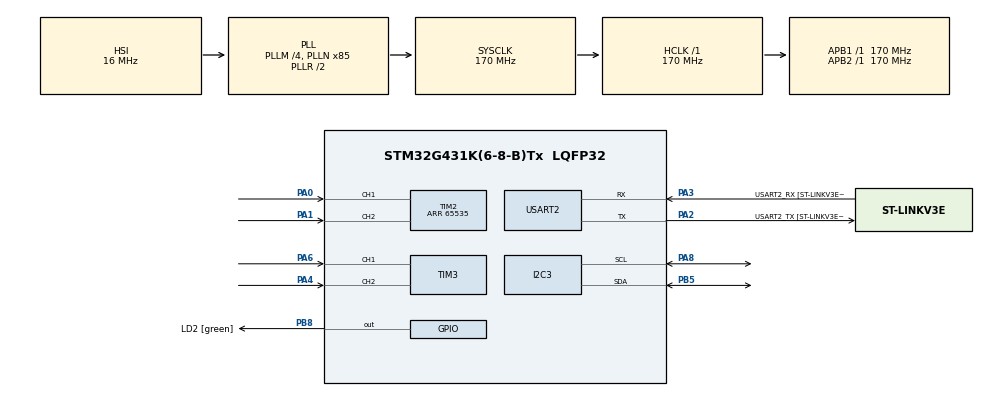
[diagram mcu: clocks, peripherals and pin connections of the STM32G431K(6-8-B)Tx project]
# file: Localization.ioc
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I2C3.Timing=0x30A0A7FB
Mcu.Family=STM32G4
Mcu.Name=STM32G431K(6-8-B)Tx
Mcu.Package=LQFP32
NVIC.PriorityGroup=NVIC_PRIORITYGROUP_4
NVIC.TIM6_DAC_IRQn=true\:0\:0\:false\:false\:true\:true\:true\:true
PA0.Signal=S_TIM2_CH1
PA1.Signal=S_TIM2_CH2
PA13.GPIO_Label=T_SWDIO
PA13.Mode=Serial_Wire
PA13.Signal=SYS_JTMS-SWDIO
PA14.GPIO_Label=T_SWCLK
PA14.Mode=Serial_Wire
PA14.Signal=SYS_JTCK-SWCLK
PA2.GPIO_Label=USART2_TX [ST-LINKV3E_VCP_RX]
PA2.Mode=Asynchronous
PA2.Signal=USART2_TX
PA3.GPIO_Label=USART2_RX [ST-LINKV3E_VCP_TX]
PA3.Mode=Asynchronous
PA3.Signal=USART2_RX
PA4.Signal=S_TIM3_CH2
PA6.Signal=S_TIM3_CH1
PA8.Mode=I2C
PA8.Signal=I2C3_SCL
PB5.Mode=I2C
PB5.Signal=I2C3_SDA
PB8-BOOT0.GPIO_Label=LD2 [green]
PB8-BOOT0.Signal=GPIO_Output
ProjectManager.HeapSize=0x200
ProjectManager.StackSize=0x400
ProjectManager.TargetToolchain=STM32CubeIDE
RCC.ADC12Freq_Value=170000000
RCC.AHBFreq_Value=170000000
RCC.APB1Freq_Value=170000000
RCC.APB1TimFreq_Value=170000000
RCC.APB2Freq_Value=170000000
RCC.APB2TimFreq_Value=170000000
RCC.CortexFreq_Value=170000000
RCC.EXTERNAL_CLOCK_VALUE=12288000
RCC.HCLKFreq_Value=170000000
RCC.HSE_VALUE=8000000
RCC.HSI48_VALUE=48000000
RCC.HSI_VALUE=16000000
RCC.LSE_VALUE=32768
RCC.PLLM=RCC_PLLM_DIV4
RCC.PLLN=85
RCC.SYSCLKFreq_VALUE=170000000
RCC.SYSCLKSource=RCC_SYSCLKSOURCE_PLLCLK
RCC.USBFreq_Value=170000000
RCC.VCOOutputFreq_Value=340000000
SH.S_TIM2_CH1.0=TIM2_CH1,Encoder_Interface
SH.S_TIM2_CH2.0=TIM2_CH2,Encoder_Interface
SH.S_TIM3_CH1.0=TIM3_CH1,Encoder_Interface
SH.S_TIM3_CH2.0=TIM3_CH2,Encoder_Interface
TIM2.EncoderMode=TIM_ENCODERMODE_TI12
TIM2.PeriodNoDither=65535
TIM3.AutoReloadPreload=TIM_AUTORELOAD_PRELOAD_DISABLE
TIM3.EncoderMode=TIM_ENCODERMODE_TI12
TIM3.SMS_Preload_Activation=DISABLE
TIM6.PeriodNoDither=999
TIM6.Prescaler=799
USART2.VirtualMode-Asynchronous=VM_ASYNC
USART2.WordLength=WORDLENGTH_8B
VP_TIM6_VS_ClockSourceINT.Mode=Enable_Timer
board=NUCLEO-G431KB

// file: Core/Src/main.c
/* USER CODE BEGIN Header */
/**
  ******************************************************************************
  * @file           : main.c
  * @brief          : Main program body
  ******************************************************************************
  * @attention
  *
  * Copyright (c) 2023 STMicroelectronics.
  * All rights reserved.
  *
  * This software is licensed under terms that can be found in the LICENSE file
  * in the root directory of this software component.
  * If no LICENSE file comes with this software, it is provided AS-IS.
  *
  ******************************************************************************
  */
/* USER CODE END Header */
#include "main.h"

/* USER CODE BEGIN Includes */
#include <stdio.h>
#include <math.h>

/* USER CODE END Includes */

/* USER CODE BEGIN PM */
#define BNO_ADDRESS 0x28
#define ENCODER_STEPS 1000
#define WHEEL_DIAMETER 0.058 //m
/* USER CODE END PM */

I2C_HandleTypeDef hi2c3;

TIM_HandleTypeDef htim2;
TIM_HandleTypeDef htim3;
TIM_HandleTypeDef htim6;

UART_HandleTypeDef huart2;

/* USER CODE BEGIN PV */
float gr[3] = {};
float _gr[3] = {};
uint16_t AttOffset;

/* USER CODE END PV */

void SystemClock_Config(void);
static void MX_GPIO_Init(void);
static void MX_USART2_UART_Init(void);
static void MX_TIM3_Init(void);
static void MX_TIM2_Init(void);
static void MX_I2C3_Init(void);
static void MX_TIM6_Init(void);
/* USER CODE BEGIN PFP */
void BNO055_Init();
/* USER CODE END PFP */

/* USER CODE BEGIN 0 */
int _write(int file, char *ptr, int len)
{
	HAL_UART_Transmit(&huart2, (uint8_t *)ptr, len, 10);
	return len;
}

int16_t read_encoder_value(uint8_t a)
{
	if(a == 0){
		uint16_t enc_buff = TIM2->CNT;
		TIM2->CNT = 0;
		return (int16_t)enc_buff;
	}

	else if(a == 1){
		uint16_t enc_buff = TIM3->CNT;
		TIM3->CNT = 0;

		return (int16_t)enc_buff;
	}

}

float Dgr2Rad(float Deg){
	return Deg*M_PI/180;
}

/* USER CODE END 0 */

int main(void)
{

  /* MCU Configuration--------------------------------------------------------*/

  /* Reset of all peripherals, Initializes the Flash interface and the Systick. */
  HAL_Init();

  /* Configure the system clock */
  SystemClock_Config();

  /* Initialize all configured peripherals */
  MX_GPIO_Init();
  MX_USART2_UART_Init();
  MX_TIM3_Init();
  MX_TIM2_Init();
  MX_I2C3_Init();
  MX_TIM6_Init();
  /* USER CODE BEGIN 2 */
  printf("Initialized\r\n");
  /* USER CODE END 2 */

  /* Infinite loop */
  while (1)
  {

  }
}

void SystemClock_Config(void)
{
  RCC_OscInitTypeDef RCC_OscInitStruct = {0};
  RCC_ClkInitTypeDef RCC_ClkInitStruct = {0};

  /** Configure the main internal regulator output voltage
  */
  HAL_PWREx_ControlVoltageScaling(PWR_REGULATOR_VOLTAGE_SCALE1_BOOST);

  /** Initializes the RCC Oscillators according to the specified parameters
  * in the RCC_OscInitTypeDef structure.
  */
  RCC_OscInitStruct.OscillatorType = RCC_OSCILLATORTYPE_HSI;
  RCC_OscInitStruct.HSIState = RCC_HSI_ON;
  RCC_OscInitStruct.HSICalibrationValue = RCC_HSICALIBRATION_DEFAULT;
  RCC_OscInitStruct.PLL.PLLState = RCC_PLL_ON;
  RCC_OscInitStruct.PLL.PLLSource = RCC_PLLSOURCE_HSI;
  RCC_OscInitStruct.PLL.PLLM = RCC_PLLM_DIV4;
  RCC_OscInitStruct.PLL.PLLN = 85;
  RCC_OscInitStruct.PLL.PLLP = RCC_PLLP_DIV2;
  RCC_OscInitStruct.PLL.PLLQ = RCC_PLLQ_DIV2;
  RCC_OscInitStruct.PLL.PLLR = RCC_PLLR_DIV2;
  if (HAL_RCC_OscConfig(&RCC_OscInitStruct) != HAL_OK)
  {
    Error_Handler();
  }

  /** Initializes the CPU, AHB and APB buses clocks
  */
  RCC_ClkInitStruct.ClockType = RCC_CLOCKTYPE_HCLK|RCC_CLOCKTYPE_SYSCLK
                              |RCC_CLOCKTYPE_PCLK1|RCC_CLOCKTYPE_PCLK2;
  RCC_ClkInitStruct.SYSCLKSource = RCC_SYSCLKSOURCE_PLLCLK;
  RCC_ClkInitStruct.AHBCLKDivider = RCC_SYSCLK_DIV1;
  RCC_ClkInitStruct.APB1CLKDivider = RCC_HCLK_DIV1;
  RCC_ClkInitStruct.APB2CLKDivider = RCC_HCLK_DIV1;

  if (HAL_RCC_ClockConfig(&RCC_ClkInitStruct, FLASH_LATENCY_4) != HAL_OK)
  {
    Error_Handler();
  }
}

static void MX_I2C3_Init(void)
{

  hi2c3.Instance = I2C3;
  hi2c3.Init.Timing = 0x30A0A7FB;
  hi2c3.Init.OwnAddress1 = 0;
  hi2c3.Init.AddressingMode = I2C_ADDRESSINGMODE_7BIT;
  hi2c3.Init.DualAddressMode = I2C_DUALADDRESS_DISABLE;
  hi2c3.Init.OwnAddress2 = 0;
  hi2c3.Init.OwnAddress2Masks = I2C_OA2_NOMASK;
  hi2c3.Init.GeneralCallMode = I2C_GENERALCALL_DISABLE;
  hi2c3.Init.NoStretchMode = I2C_NOSTRETCH_DISABLE;
  if (HAL_I2C_Init(&hi2c3) != HAL_OK)
  {
    Error_Handler();
  }

  /** Configure Analogue filter
  */
  if (HAL_I2CEx_ConfigAnalogFilter(&hi2c3, I2C_ANALOGFILTER_ENABLE) != HAL_OK)
  {
    Error_Handler();
  }

  /** Configure Digital filter
  */
  if (HAL_I2CEx_ConfigDigitalFilter(&hi2c3, 0) != HAL_OK)
  {
    Error_Handler();
  }
  /* USER CODE BEGIN I2C3_Init 2 */
  BNO055_Init();
  /* USER CODE END I2C3_Init 2 */

}

static void MX_TIM2_Init(void)
{

  TIM_Encoder_InitTypeDef sConfig = {0};
  TIM_MasterConfigTypeDef sMasterConfig = {0};

  htim2.Instance = TIM2;
  htim2.Init.Prescaler = 0;
  htim2.Init.CounterMode = TIM_COUNTERMODE_UP;
  htim2.Init.Period = 65535;
  htim2.Init.ClockDivision = TIM_CLOCKDIVISION_DIV1;
  htim2.Init.AutoReloadPreload = TIM_AUTORELOAD_PRELOAD_DISABLE;
  sConfig.EncoderMode = TIM_ENCODERMODE_TI12;
  sConfig.IC1Polarity = TIM_ICPOLARITY_RISING;
  sConfig.IC1Selection = TIM_ICSELECTION_DIRECTTI;
  sConfig.IC1Prescaler = TIM_ICPSC_DIV1;
  sConfig.IC1Filter = 0;
  sConfig.IC2Polarity = TIM_ICPOLARITY_RISING;
  sConfig.IC2Selection = TIM_ICSELECTION_DIRECTTI;
  sConfig.IC2Prescaler = TIM_ICPSC_DIV1;
  sConfig.IC2Filter = 0;
  if (HAL_TIM_Encoder_Init(&htim2, &sConfig) != HAL_OK)
  {
    Error_Handler();
  }
  sMasterConfig.MasterOutputTrigger = TIM_TRGO_RESET;
  sMasterConfig.MasterSlaveMode = TIM_MASTERSLAVEMODE_DISABLE;
  if (HAL_TIMEx_MasterConfigSynchronization(&htim2, &sMasterConfig) != HAL_OK)
  {
    Error_Handler();
  }
  /* USER CODE BEGIN TIM2_Init 2 */
  HAL_TIM_Encoder_Start(&htim2, TIM_CHANNEL_ALL);
  /* USER CODE END TIM2_Init 2 */

}

static void MX_TIM3_Init(void)
{

  TIM_Encoder_InitTypeDef sConfig = {0};
  TIM_MasterConfigTypeDef sMasterConfig = {0};

  htim3.Instance = TIM3;
  htim3.Init.Prescaler = 0;
  htim3.Init.CounterMode = TIM_COUNTERMODE_UP;
  htim3.Init.Period = 65535;
  htim3.Init.ClockDivision = TIM_CLOCKDIVISION_DIV1;
  htim3.Init.AutoReloadPreload = TIM_AUTORELOAD_PRELOAD_DISABLE;
  sConfig.EncoderMode = TIM_ENCODERMODE_TI12;
  sConfig.IC1Polarity = TIM_ICPOLARITY_RISING;
  sConfig.IC1Selection = TIM_ICSELECTION_DIRECTTI;
  sConfig.IC1Prescaler = TIM_ICPSC_DIV1;
  sConfig.IC1Filter = 0;
  sConfig.IC2Polarity = TIM_ICPOLARITY_RISING;
  sConfig.IC2Selection = TIM_ICSELECTION_DIRECTTI;
  sConfig.IC2Prescaler = TIM_ICPSC_DIV1;
  sConfig.IC2Filter = 0;
  if (HAL_TIM_Encoder_Init(&htim3, &sConfig) != HAL_OK)
  {
    Error_Handler();
  }
  sMasterConfig.MasterOutputTrigger = TIM_TRGO_RESET;
  sMasterConfig.MasterSlaveMode = TIM_MASTERSLAVEMODE_DISABLE;
  if (HAL_TIMEx_MasterConfigSynchronization(&htim3, &sMasterConfig) != HAL_OK)
  {
    Error_Handler();
  }
  /* USER CODE BEGIN TIM3_Init 2 */
  HAL_TIM_Encoder_Start(&htim3, TIM_CHANNEL_ALL);

  /* USER CODE END TIM3_Init 2 */

}

static void MX_TIM6_Init(void)
{

  TIM_MasterConfigTypeDef sMasterConfig = {0};

  htim6.Instance = TIM6;
  htim6.Init.Prescaler = 799;
  htim6.Init.CounterMode = TIM_COUNTERMODE_UP;
  htim6.Init.Period = 999;
  htim6.Init.AutoReloadPreload = TIM_AUTORELOAD_PRELOAD_DISABLE;
  if (HAL_TIM_Base_Init(&htim6) != HAL_OK)
  {
    Error_Handler();
  }
  sMasterConfig.MasterOutputTrigger = TIM_TRGO_RESET;
  sMasterConfig.MasterSlaveMode = TIM_MASTERSLAVEMODE_DISABLE;
  if (HAL_TIMEx_MasterConfigSynchronization(&htim6, &sMasterConfig) != HAL_OK)
  {
    Error_Handler();
  }
  /* USER CODE BEGIN TIM6_Init 2 */
  HAL_TIM_Base_Start_IT(&htim6);
  /* USER CODE END TIM6_Init 2 */

}

static void MX_USART2_UART_Init(void)
{

  huart2.Instance = USART2;
  huart2.Init.BaudRate = 115200;
  huart2.Init.WordLength = UART_WORDLENGTH_8B;
  huart2.Init.StopBits = UART_STOPBITS_1;
  huart2.Init.Parity = UART_PARITY_NONE;
  huart2.Init.Mode = UART_MODE_TX_RX;
  huart2.Init.HwFlowCtl = UART_HWCONTROL_NONE;
  huart2.Init.OverSampling = UART_OVERSAMPLING_16;
  huart2.Init.OneBitSampling = UART_ONE_BIT_SAMPLE_DISABLE;
  huart2.Init.ClockPrescaler = UART_PRESCALER_DIV1;
  huart2.AdvancedInit.AdvFeatureInit = UART_ADVFEATURE_NO_INIT;
  if (HAL_UART_Init(&huart2) != HAL_OK)
  {
    Error_Handler();
  }
  if (HAL_UARTEx_SetTxFifoThreshold(&huart2, UART_TXFIFO_THRESHOLD_1_8) != HAL_OK)
  {
    Error_Handler();
  }
  if (HAL_UARTEx_SetRxFifoThreshold(&huart2, UART_RXFIFO_THRESHOLD_1_8) != HAL_OK)
  {
    Error_Handler();
  }
  if (HAL_UARTEx_DisableFifoMode(&huart2) != HAL_OK)
  {
    Error_Handler();
  }
  /* USER CODE BEGIN USART2_Init 2 */
  setbuf(stdout, NULL);
  /* USER CODE END USART2_Init 2 */

}

static void MX_GPIO_Init(void)
{
  GPIO_InitTypeDef GPIO_InitStruct = {0};

  /* GPIO Ports Clock Enable */
  __HAL_RCC_GPIOA_CLK_ENABLE();
  __HAL_RCC_GPIOB_CLK_ENABLE();

  /*Configure GPIO pin Output Level */
  HAL_GPIO_WritePin(LD2_GPIO_Port, LD2_Pin, GPIO_PIN_RESET);

  /*Configure GPIO pin : LD2_Pin */
  GPIO_InitStruct.Pin = LD2_Pin;
  GPIO_InitStruct.Mode = GPIO_MODE_OUTPUT_PP;
  GPIO_InitStruct.Pull = GPIO_NOPULL;
  GPIO_InitStruct.Speed = GPIO_SPEED_FREQ_LOW;
  HAL_GPIO_Init(LD2_GPIO_Port, &GPIO_InitStruct);

}

/* USER CODE BEGIN 4 */
void BNO055_Init(){
	HAL_Delay(700);
	uint8_t Txbuff;
	uint8_t Rxbuff;
	//char message[20];

	//Txbuff = 0x20;
	//HAL_I2C_Mem_Write(&hi2c1, 0x28 << 1, 0x3F, I2C_MEMADD_SIZE_8BIT, &Txbuff, 1, 100); //system trigger

	Txbuff = 0x00;
	HAL_I2C_Mem_Write(&hi2c3, 0x28 << 1, 0x3E, I2C_MEMADD_SIZE_8BIT, &Txbuff, 1, 100); //power mode

	Txbuff = 0x0C;
	HAL_I2C_Mem_Write(&hi2c3, 0x28 << 1, 0x3D, I2C_MEMADD_SIZE_8BIT, &Txbuff, 1, 100);//using Nine Degree of Freedom mode

	//Txbuff = 0x04;
	//HAL_I2C_Mem_Write(&hi2c3, 0x28 << 1, 0x3B, I2C_MEMADD_SIZE_8BIT, &Txbuff, 1, 100);

	HAL_I2C_Mem_Read(&hi2c3, 0x28 << 1, 0x3A, I2C_MEMADD_SIZE_8BIT, &Rxbuff, 1, 100);
	printf("Error: %x\r\n", Rxbuff);

	HAL_I2C_Mem_Read(&hi2c3, 0x28 << 1, 0x00, I2C_MEMADD_SIZE_8BIT, &Rxbuff, 1, 100);
	printf("ID: %x\r\n", Rxbuff);

	HAL_I2C_Mem_Read(&hi2c3, 0x28 << 1, 0x34, I2C_MEMADD_SIZE_8BIT, &Rxbuff, 1, 100);
	printf("Temp: %x\r\n", Rxbuff);

	uint8_t Rxbuffer[2];
	HAL_I2C_Mem_Read(&hi2c3, BNO_ADDRESS << 1, 0x1A, I2C_MEMADD_SIZE_8BIT, Rxbuffer, 2, 100);
	AttOffset = (Rxbuffer[1] << 8) | Rxbuffer[0];

	//print_int(30, "testing");
	//HAL_Delay(100);

}

void HAL_TIM_PeriodElapsedCallback(TIM_HandleTypeDef *htim){

	if(htim==&htim6){
		uint8_t Rxbuffer[2];
		static uint32_t count[2]={};
		uint8_t i;

		HAL_I2C_Mem_Read(&hi2c3, BNO_ADDRESS << 1, 0x1A, I2C_MEMADD_SIZE_8BIT, Rxbuffer, 2, 100);
	    //printf("%s: %f\r\n", "x", (float)(((Rxbuffer[1] << 8) | Rxbuffer[0]) - AttOffset)/16);
	    gr[2] = (float)(((Rxbuffer[1] << 8) | Rxbuffer[0]) - AttOffset)/16;
	    gr[0] += ((float)read_encoder_value(0) + read_encoder_value(1))*cos(M_PI/6)*WHEEL_DIAMETER*M_PI/2/ENCODER_STEPS*cos(Dgr2Rad((_gr[2]+gr[2])/2));
	    gr[1] += ((float)read_encoder_value(0) - read_encoder_value(1))*sin(M_PI/6)*WHEEL_DIAMETER*M_PI/2/ENCODER_STEPS*sin(Dgr2Rad((_gr[2]+gr[2])/2));

	  for(i=0; i<2; i++){
		  count[i] += read_encoder_value(i);
		  printf("Encoder %d: %d\r\n", i, count[i]);
	  }

	  //printf(" x:%f\r\n y:%f\r\n T:%f\r\n", gr[0], gr[1], gr[2]);
	  _gr[2] = gr[2];
	}
}

/* USER CODE END 4 */

void Error_Handler(void)
{
  __disable_irq();
  while (1)
  {
  }
}
